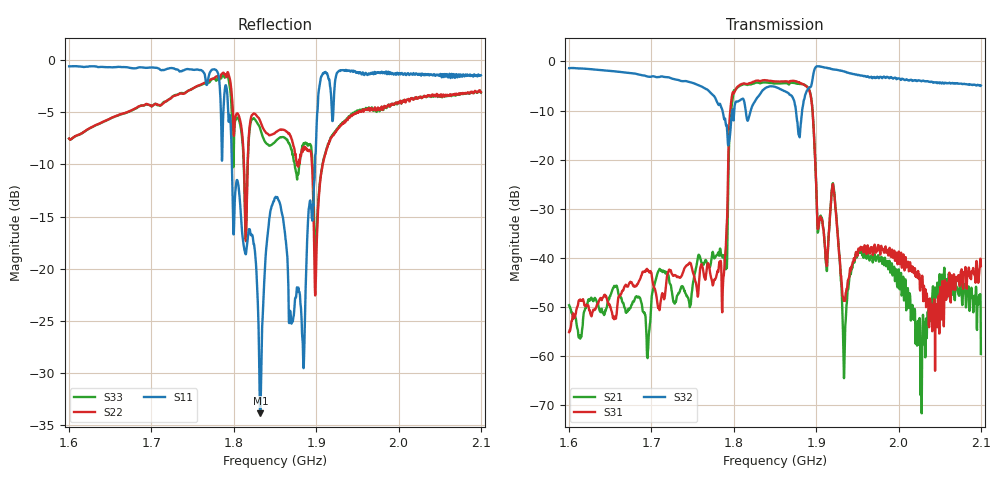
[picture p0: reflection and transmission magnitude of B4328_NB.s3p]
! Matrix data file written by TouchstoneData, EPCOS AG
! FILENAME: "ansys_B4328_03_NB.matched.snp"
! COMMENT: "test0 (B4328_03_NB.matched.snp)"
! INFO: nport=3, nfreq=1601
! DATE: "Mon Jul  8 13:27:51 2013"
! USER: "Daniel Harbusch"
! port | pin | signal
!  1  |  1  |  Input
!  2  |  3  |  Output balanced
!  3  |  4  |  Output balanced
# MHZ S MA R 50
! freq  magS11 angS11  magS12 angS12  magS13 angS13  ...
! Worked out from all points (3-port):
!   1601 points, 1.6 GHz to 2.1 GHz, reference 50 ohm
!   strongest paths, dB at 1.6 GHz, 1.725 GHz, 1.85 GHz, 1.975 GHz, 2.1 GHz:
!     S32: -1.4, -3.5, -5.2, -3.2, -4.9
!     S31: -55.1, -43.4, -4.1, -37.6, -41.7
!     S21: -49.7, -47.2, -4.5, -39.7, -59.6
!   lowest |S11| = -33.9 dB at 1.832 GHz (marker M1), VSWR 1.04, Z = 50.5 + j1.96 ohm
!   |S11| at or under -10 dB: 1.798 GHz to 1.898 GHz (100.8 MHz wide, 5.45 % of centre)
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1600  0.935 -44.4  0.003291 -136.6  0.001749 -152.5
      0.003291 -136.6  0.4214 17.5  0.8528 -67.9
      0.001749 -152.5  0.8528 -67.9  0.4212 15.7
1786.875  0.5176 -136.7  0.01026 178.6  0.005498 144.3
          0.01026 178.6  0.8706 -42.1  0.2976 -122.7
          0.005498 144.3  0.2976 -122.7  0.8581 -46.2
1797.812  0.298 132.1  0.3765 -106.7  0.4503 68.6
          0.3765 -106.7  0.6618 -76.1  0.3106 -69.6
          0.4503 68.6  0.3106 -69.6  0.5275 -86.5
1811.562  0.1322 42.1  0.5836 93.6  0.5974 -88.5
          0.5836 93.6  0.3728 -109.5  0.4136 -135.8
          0.5974 -88.5  0.4136 -135.8  0.3511 -113.8
1832.188  0.02025 73.2  0.5989 -15.4  0.6283 163.5
          0.5989 -15.4  0.5091 -38.8  0.4703 -34.4
          0.6283 163.5  0.4703 -34.4  0.467 -40.8
1850  0.219 -52.2  0.5958 -88.5  0.6254 91.7
      0.5958 -88.5  0.4475 -42.9  0.5508 -64.9
      0.6254 91.7  0.5508 -64.9  0.4053 -40.2
1892.188  0.2096 114.2  0.4983 42.0  0.4894 -136.3
          0.4983 42.0  0.3692 3.9  0.5441 -5.8
          0.4894 -136.3  0.5441 -5.8  0.3962 6.1
1934.062  0.896 11.3  0.0006778 -127.2  0.003677 -108.4
          0.0006778 -127.2  0.5084 20.6  0.7915 -67.5
          0.003677 -108.4  0.7915 -67.5  0.509 18.9
1953.125  0.8761 -7.8  0.01123 126.3  0.01191 -69.0
          0.01123 126.3  0.5663 11.3  0.7198 -74.3
          0.01191 -69.0  0.7198 -74.3  0.579 9.6
2100  0.8466 -49.6  0.001049 68.4  0.00821 -148.0
      0.001049 68.4  0.7026 -9.2  0.5691 -93.5
      0.00821 -148.0  0.5691 -93.5  0.6988 -10.3
